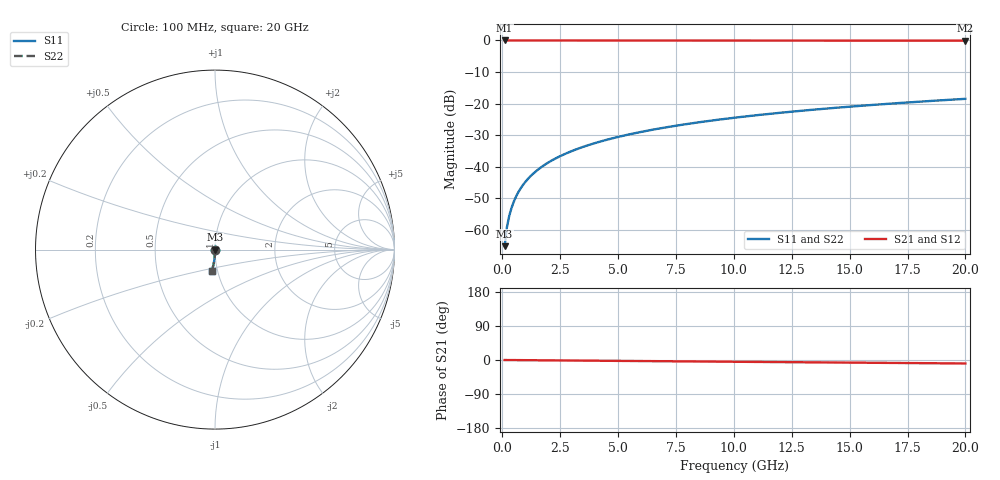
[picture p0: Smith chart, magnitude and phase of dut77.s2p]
! Touchstone file exported from HFSS 2026.1.0
!  File:  C:/ffzhzh/LocalFiles/Ansys_Project_Files/temp_train_TSV_77_1782959407_45568.aedt
!  Generated:  10:31:28 AM Jul  2, 2026
!  Design:  TSV
!  Project:  temp_train_TSV_77_1782959407_45568
! Variables:
!  h_bsmrdl = 2um
!  h_ox = 20um
!  h_rdl = 5um
!  h_sub = 64.56um
!  h_tmrdl = 5um
!  h_tsv = 64.56um
!  h_via = 3um
!  l_bsmrdl = 300um
!  l_sub = 429.9um
!  l_tmrdl = 200um
!  m_sub = 200um
!  pitch = 33.63um
!  r_tsv = 14.95um
!  s_tmrdl = 10um
!  w_bsmrdl = 18um
!  w_sub = 500um
!  w_tmrdl = 12um
!  x_tsv_center1 = 206um
!  x_tsv_center2 = 524um
!  x_tsv_center3 = 736um
!  x_tsv_center4 = 1054um
!  x_tsv_center5 = 1266um
!  x_tsv_center6 = 1584um
# GHz S MA R 50.000000
! Terminal data exported
! Port[1] = TSV1_1_T1
! Port[2] = TSV1_1_T2
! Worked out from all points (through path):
!   200 points, 100 MHz to 20 GHz, reference 50 ohm
!   highest |S21| = 0.00 dB at 100 MHz (marker M1); lowest = -0.1 dB at 20 GHz (marker M2)
!   group delay of S21, straight-line fit = 1.27 ps
!   lowest |S11| = -65.1 dB at 100 MHz (marker M3), VSWR 1.00, Z = 50 - j0.0551 ohm
!   |S11| at or under -10 dB: start of sweep to end of sweep
!   |S22| runs from -65.1 to -18.5 dB; largest |S21 - S12| = 5.3e-15
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0.1  0.0005556 -82.2  0.9999 -0.0  0.9999 -0.0  0.0005556 -82.2
! Gamma 0 0 0 0
! Port Impedance 50 0 50 0
0.2  0.00111 -85.2  0.9999 -0.1  0.9999 -0.1  0.00111 -85.2
0.3  0.001675 -86.0  0.9999 -0.1  0.9999 -0.1  0.001675 -86.0
0.4  0.00225 -86.4  0.9998 -0.2  0.9998 -0.2  0.00225 -86.4
0.5  0.002834 -86.6  0.9998 -0.2  0.9998 -0.2  0.002834 -86.6
0.7  0.004016 -87.1  0.9998 -0.3  0.9998 -0.3  0.004016 -87.1
0.8  0.004612 -87.3  0.9997 -0.4  0.9997 -0.4  0.004612 -87.3
1  0.005807 -87.7  0.9997 -0.5  0.9997 -0.5  0.005807 -87.7
1.2  0.007004 -88.1  0.9997 -0.6  0.9997 -0.6  0.007004 -88.1
1.4  0.008201 -88.4  0.9996 -0.7  0.9996 -0.7  0.008201 -88.4
1.7  0.009996 -88.8  0.9996 -0.8  0.9996 -0.8  0.009996 -88.8
2  0.01179 -89.1  0.9996 -0.9  0.9996 -0.9  0.01179 -89.1
2.7  0.01597 -89.7  0.9994 -1.3  0.9994 -1.3  0.01597 -89.7
3.5  0.02076 -90.3  0.9993 -1.6  0.9993 -1.6  0.02076 -90.3
4.2  0.02495 -90.7  0.9992 -1.9  0.9992 -1.9  0.02495 -90.7
5  0.02975 -91.2  0.999 -2.3  0.999 -2.3  0.02975 -91.2
6.8  0.04055 -92.2  0.9985 -3.1  0.9985 -3.1  0.04055 -92.2
8.3  0.04955 -92.9  0.998 -3.8  0.998 -3.8  0.04955 -92.9
10.1  0.06034 -93.8  0.9973 -4.7  0.9973 -4.7  0.06034 -93.8
13.4  0.08007 -95.5  0.9958 -6.2  0.9958 -6.2  0.08007 -95.5
16.7  0.09969 -97.0  0.9939 -7.7  0.9939 -7.7  0.09969 -97.0
20  0.1192 -98.6  0.9916 -9.2  0.9916 -9.2  0.1192 -98.6
